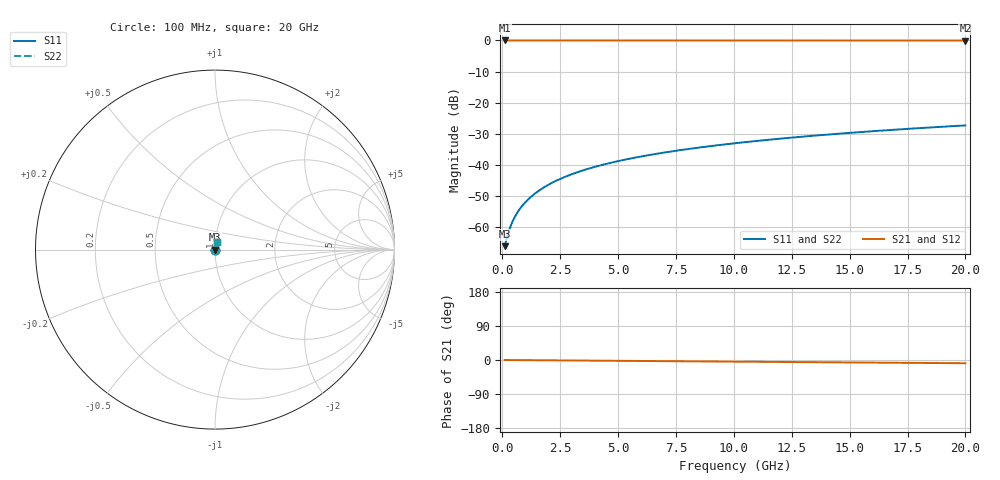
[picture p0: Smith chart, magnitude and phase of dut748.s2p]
! Touchstone file exported from HFSS 2026.1.0
!  File:  C:/ffzhzh/LocalFiles/Ansys_Project_Files/temp_train_TSV_748_1783182950_55132.aedt
!  Generated:  12:37:36 AM Jul  5, 2026
!  Design:  TSV
!  Project:  temp_train_TSV_748_1783182950_55132
! Variables:
!  h_bsmrdl = 2um
!  h_ox = 20um
!  h_rdl = 5um
!  h_sub = 84.74um
!  h_tmrdl = 5um
!  h_tsv = 84.74um
!  h_via = 3um
!  l_bsmrdl = 300um
!  l_sub = 410.06um
!  l_tmrdl = 200um
!  m_sub = 200um
!  pitch = 30.89um
!  r_tsv = 5.03um
!  s_tmrdl = 10um
!  w_bsmrdl = 18um
!  w_sub = 500um
!  w_tmrdl = 12um
!  x_tsv_center1 = 206um
!  x_tsv_center2 = 524um
!  x_tsv_center3 = 736um
!  x_tsv_center4 = 1054um
!  x_tsv_center5 = 1266um
!  x_tsv_center6 = 1584um
# GHz S MA R 50.000000
! Terminal data exported
! Port[1] = TSV1_1_T1
! Port[2] = TSV1_1_T2
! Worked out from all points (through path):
!   200 points, 100 MHz to 20 GHz, reference 50 ohm
!   highest |S21| = 0.00 dB at 100 MHz (marker M1); lowest = 0.0 dB at 20 GHz (marker M2)
!   group delay of S21, straight-line fit = 1.18 ps
!   lowest |S11| = -66.1 dB at 100 MHz (marker M3), VSWR 1.00, Z = 50 + j0.0263 ohm
!   |S11| at or under -10 dB: start of sweep to end of sweep
!   |S22| runs from -66.1 to -27.3 dB; largest |S21 - S12| = 2.6e-15
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0.1  0.0004929 32.3  0.9996 -0.0  0.9996 -0.0  0.0004929 32.3
! Gamma 0 0 0 0
! Port Impedance 50 0 50 0
0.2  0.0006768 50.6  0.9996 -0.1  0.9996 -0.1  0.0006768 50.6
0.3  0.0008971 60.1  0.9996 -0.1  0.9996 -0.1  0.0008971 60.1
0.4  0.001128 65.4  0.9995 -0.2  0.9995 -0.2  0.001128 65.4
0.5  0.001361 68.9  0.9995 -0.2  0.9995 -0.2  0.001361 68.9
0.6  0.001593 71.2  0.9995 -0.3  0.9995 -0.3  0.001593 71.2
0.8  0.002055 74.4  0.9995 -0.4  0.9995 -0.4  0.002055 74.4
1.1  0.002744 77.2  0.9994 -0.5  0.9994 -0.5  0.002744 77.2
1.3  0.003203 78.4  0.9994 -0.6  0.9994 -0.6  0.003203 78.4
1.6  0.003892 79.6  0.9993 -0.7  0.9993 -0.7  0.003892 79.6
2.1  0.005035 80.8  0.9993 -0.9  0.9993 -0.9  0.005035 80.8
2.7  0.006396 81.6  0.9992 -1.2  0.9992 -1.2  0.006396 81.6
3.5  0.008188 82.0  0.999 -1.5  0.999 -1.5  0.008188 82.0
4.2  0.009735 82.1  0.9989 -1.8  0.9989 -1.8  0.009735 82.1
5  0.01148 82.1  0.9988 -2.2  0.9988 -2.2  0.01148 82.1
5.9  0.01343 82.1  0.9987 -2.6  0.9987 -2.6  0.01343 82.1
6.8  0.01535 82.0  0.9985 -2.9  0.9985 -2.9  0.01535 82.0
8.3  0.01855 81.8  0.9983 -3.6  0.9983 -3.6  0.01855 81.8
10.1  0.02236 81.4  0.9981 -4.3  0.9981 -4.3  0.02236 81.4
13.4  0.02932 80.6  0.9977 -5.7  0.9977 -5.7  0.02932 80.6
16.7  0.03622 79.5  0.9973 -7.1  0.9973 -7.1  0.03622 79.5
20  0.04306 78.4  0.9968 -8.5  0.9968 -8.5  0.04306 78.4
